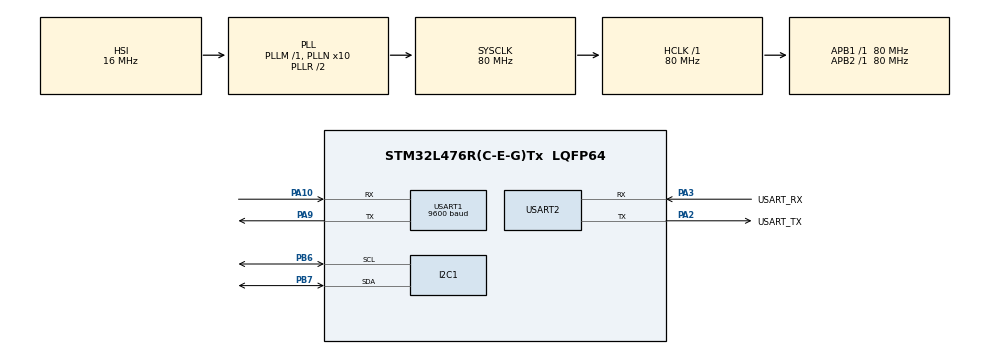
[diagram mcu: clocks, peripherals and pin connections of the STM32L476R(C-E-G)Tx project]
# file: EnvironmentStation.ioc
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I2C1.Timing=0x10D19CE4
Mcu.Family=STM32L4
Mcu.Name=STM32L476R(C-E-G)Tx
Mcu.Package=LQFP64
NVIC.I2C1_EV_IRQn=true\:3\:0\:true\:false\:true\:true\:true\:true
NVIC.PriorityGroup=NVIC_PRIORITYGROUP_4
NVIC.TIM3_IRQn=true\:0\:0\:false\:false\:true\:true\:true\:true
NVIC.USART1_IRQn=true\:0\:0\:false\:false\:true\:true\:true\:true
NVIC.USART2_IRQn=true\:0\:0\:false\:false\:true\:true\:true\:true
PA10.Mode=Asynchronous
PA10.Signal=USART1_RX
PA13\ (JTMS-SWDIO).GPIO_Label=TMS
PA13\ (JTMS-SWDIO).Mode=Serial_Wire
PA13\ (JTMS-SWDIO).Signal=SYS_JTMS-SWDIO
PA14\ (JTCK-SWCLK).GPIO_Label=TCK
PA14\ (JTCK-SWCLK).Mode=Serial_Wire
PA14\ (JTCK-SWCLK).Signal=SYS_JTCK-SWCLK
PA2.GPIO_Label=USART_TX
PA2.GPIO_Mode=GPIO_MODE_AF_PP
PA2.GPIO_PuPd=GPIO_NOPULL
PA2.GPIO_Speed=GPIO_SPEED_FREQ_VERY_HIGH
PA2.Mode=Asynchronous
PA2.Signal=USART2_TX
PA3.GPIO_Label=USART_RX
PA3.GPIO_Mode=GPIO_MODE_AF_PP
PA3.GPIO_PuPd=GPIO_NOPULL
PA3.GPIO_Speed=GPIO_SPEED_FREQ_VERY_HIGH
PA3.Mode=Asynchronous
PA3.Signal=USART2_RX
PA6.Signal=S_TIM3_CH1
PA9.Mode=Asynchronous
PA9.Signal=USART1_TX
PB3\ (JTDO-TRACESWO).GPIO_Label=SWO
PB3\ (JTDO-TRACESWO).Signal=SYS_JTDO-SWO
PB6.Mode=I2C
PB6.Signal=I2C1_SCL
PB7.Mode=I2C
PB7.Signal=I2C1_SDA
PC14-OSC32_IN\ (PC14).Mode=LSE-External-Oscillator
PC14-OSC32_IN\ (PC14).Signal=RCC_OSC32_IN
PC15-OSC32_OUT\ (PC15).Mode=LSE-External-Oscillator
PC15-OSC32_OUT\ (PC15).Signal=RCC_OSC32_OUT
PH0-OSC_IN\ (PH0).Signal=RCC_OSC_IN
PH1-OSC_OUT\ (PH1).Signal=RCC_OSC_OUT
ProjectManager.HeapSize=0x200
ProjectManager.StackSize=0x400
ProjectManager.TargetToolchain=STM32CubeIDE
RCC.ADCFreq_Value=64000000
RCC.AHBFreq_Value=80000000
RCC.APB1Freq_Value=80000000
RCC.APB1TimFreq_Value=80000000
RCC.APB2Freq_Value=80000000
RCC.APB2TimFreq_Value=80000000
RCC.CortexFreq_Value=80000000
RCC.HCLKFreq_Value=80000000
RCC.HSE_VALUE=8000000
RCC.HSI_VALUE=16000000
RCC.MSI_VALUE=4000000
RCC.PLLN=10
RCC.PLLSourceVirtual=RCC_PLLSOURCE_HSI
RCC.PREFETCH_ENABLE=1
RCC.SYSCLKFreq_VALUE=80000000
RCC.SYSCLKSource=RCC_SYSCLKSOURCE_PLLCLK
RCC.USBFreq_Value=64000000
RCC.VCOOutputFreq_Value=160000000
SH.S_TIM3_CH1.0=TIM3_CH1
TIM3.Channel-PWM\ Generation1\ No\ Output=TIM_CHANNEL_1
TIM3.Period=9999
TIM3.Prescaler=79
TIM3.Pulse-PWM\ Generation1\ No\ Output=499
USART1.BaudRate=9600
USART1.VirtualMode-Asynchronous=VM_ASYNC
USART2.VirtualMode-Asynchronous=VM_ASYNC
VP_TIM3_VS_ClockSourceINT.Mode=Internal
VP_TIM3_VS_no_output1.Mode=PWM Generation1 No Output
board=NUCLEO-L476RG

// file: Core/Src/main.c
/* USER CODE BEGIN Header */
/**
  ******************************************************************************
  * @file           : main.c
  * @brief          : Main program body
  ******************************************************************************
  * @attention
  *
  * Copyright (c) 2026 STMicroelectronics.
  * All rights reserved.
  *
  * This software is licensed under terms that can be found in the LICENSE file
  * in the root directory of this software component.
  * If no LICENSE file comes with this software, it is provided AS-IS.
  *
  ******************************************************************************
  */
/* USER CODE END Header */
#include "main.h"

/* USER CODE BEGIN Includes */

#include <stdio.h>

/* USER CODE END Includes */

I2C_HandleTypeDef hi2c1;

TIM_HandleTypeDef htim3;

UART_HandleTypeDef huart1;
UART_HandleTypeDef huart2;

void SystemClock_Config(void);
static void MX_GPIO_Init(void);
static void MX_USART2_UART_Init(void);
static void MX_USART1_UART_Init(void);
static void MX_I2C1_Init(void);
static void MX_TIM3_Init(void);

/* USER CODE BEGIN 0 */

int __io_putchar(int ch)
{
	if (ch == '\n')
		__io_putchar('\r');

	HAL_UART_Transmit(&huart2, (uint8_t*)&ch, 1, HAL_MAX_DELAY);

	return 1;
}

/* USER CODE END 0 */

int main(void)
{

  /* MCU Configuration--------------------------------------------------------*/

  /* Reset of all peripherals, Initializes the Flash interface and the Systick. */
  HAL_Init();

  /* Configure the system clock */
  SystemClock_Config();

  /* Initialize all configured peripherals */
  MX_GPIO_Init();
  MX_USART2_UART_Init();
  MX_USART1_UART_Init();
  MX_I2C1_Init();
  MX_TIM3_Init();

  /* Infinite loop */
  /* USER CODE BEGIN WHILE */

  HAL_TIM_IC_Start(&htim2, TIM_CHANNEL_1);
  HAL_TIM_IC_Start(&htim2, TIM_CHANNEL_2);
  HAL_TIM_PWM_Start(&htim2, TIM_CHANNEL_3);

  HAL_ADCEx_Calibration_Start(&hadc1, ADC_SINGLE_ENDED);
  HAL_ADC_Start(&hadc1);

  HAL_Delay(1000);

  uint32_t start = 0;
  uint32_t stop = 0;
  float temp = 0;
  uint32_t adcValue = 0;
  float airSoundVelocity = 340.f; // m / s
  float distance = 0.f; //cm
  static const unsigned us_in_s = 1000000;
  static const uint16_t ADC_MAX_VALUE = 4096;
  static const float ADC_MAX_VOLTAGE = 3.3f;
  static const uint8_t V_TO_C_CONVERSION = 100; // [C/V]

  while (1)
  {
	  adcValue = HAL_ADC_GetValue(&hadc1);
	  temp = adcValue * V_TO_C_CONVERSION * ADC_MAX_VOLTAGE / ADC_MAX_VALUE;
	  airSoundVelocity = 331.8f + 0.6f * temp;

	  start = HAL_TIM_ReadCapturedValue(&htim2, TIM_CHANNEL_1);
	  stop = HAL_TIM_ReadCapturedValue(&htim2, TIM_CHANNEL_2);
        distance = (stop - start) * (airSoundVelocity / (2 * us_in_s)) * 100;
	  printf("Distance: %.1f [cm]\n", distance);
	  printf("ADC: %lu[-], Temp: %.1f [C], AirSoundVelocity: %.1f [m/s]\n", adcValue, temp, airSoundVelocity);
	  HAL_Delay(500);

	  //forbot - 1/3 of the lesson 14

    /* USER CODE END WHILE */

  }
}

void SystemClock_Config(void)
{
  RCC_OscInitTypeDef RCC_OscInitStruct = {0};
  RCC_ClkInitTypeDef RCC_ClkInitStruct = {0};

  /** Configure the main internal regulator output voltage
  */
  if (HAL_PWREx_ControlVoltageScaling(PWR_REGULATOR_VOLTAGE_SCALE1) != HAL_OK)
  {
    Error_Handler();
  }

  /** Initializes the RCC Oscillators according to the specified parameters
  * in the RCC_OscInitTypeDef structure.
  */
  RCC_OscInitStruct.OscillatorType = RCC_OSCILLATORTYPE_HSI;
  RCC_OscInitStruct.HSIState = RCC_HSI_ON;
  RCC_OscInitStruct.HSICalibrationValue = RCC_HSICALIBRATION_DEFAULT;
  RCC_OscInitStruct.PLL.PLLState = RCC_PLL_ON;
  RCC_OscInitStruct.PLL.PLLSource = RCC_PLLSOURCE_HSI;
  RCC_OscInitStruct.PLL.PLLM = 1;
  RCC_OscInitStruct.PLL.PLLN = 10;
  RCC_OscInitStruct.PLL.PLLP = RCC_PLLP_DIV7;
  RCC_OscInitStruct.PLL.PLLQ = RCC_PLLQ_DIV2;
  RCC_OscInitStruct.PLL.PLLR = RCC_PLLR_DIV2;
  if (HAL_RCC_OscConfig(&RCC_OscInitStruct) != HAL_OK)
  {
    Error_Handler();
  }

  /** Initializes the CPU, AHB and APB buses clocks
  */
  RCC_ClkInitStruct.ClockType = RCC_CLOCKTYPE_HCLK|RCC_CLOCKTYPE_SYSCLK
                              |RCC_CLOCKTYPE_PCLK1|RCC_CLOCKTYPE_PCLK2;
  RCC_ClkInitStruct.SYSCLKSource = RCC_SYSCLKSOURCE_PLLCLK;
  RCC_ClkInitStruct.AHBCLKDivider = RCC_SYSCLK_DIV1;
  RCC_ClkInitStruct.APB1CLKDivider = RCC_HCLK_DIV1;
  RCC_ClkInitStruct.APB2CLKDivider = RCC_HCLK_DIV1;

  if (HAL_RCC_ClockConfig(&RCC_ClkInitStruct, FLASH_LATENCY_4) != HAL_OK)
  {
    Error_Handler();
  }
}

static void MX_I2C1_Init(void)
{

  hi2c1.Instance = I2C1;
  hi2c1.Init.Timing = 0x10D19CE4;
  hi2c1.Init.OwnAddress1 = 0;
  hi2c1.Init.AddressingMode = I2C_ADDRESSINGMODE_7BIT;
  hi2c1.Init.DualAddressMode = I2C_DUALADDRESS_DISABLE;
  hi2c1.Init.OwnAddress2 = 0;
  hi2c1.Init.OwnAddress2Masks = I2C_OA2_NOMASK;
  hi2c1.Init.GeneralCallMode = I2C_GENERALCALL_DISABLE;
  hi2c1.Init.NoStretchMode = I2C_NOSTRETCH_DISABLE;
  if (HAL_I2C_Init(&hi2c1) != HAL_OK)
  {
    Error_Handler();
  }

  /** Configure Analogue filter
  */
  if (HAL_I2CEx_ConfigAnalogFilter(&hi2c1, I2C_ANALOGFILTER_ENABLE) != HAL_OK)
  {
    Error_Handler();
  }

  /** Configure Digital filter
  */
  if (HAL_I2CEx_ConfigDigitalFilter(&hi2c1, 0) != HAL_OK)
  {
    Error_Handler();
  }

}

static void MX_TIM3_Init(void)
{

  TIM_ClockConfigTypeDef sClockSourceConfig = {0};
  TIM_MasterConfigTypeDef sMasterConfig = {0};
  TIM_OC_InitTypeDef sConfigOC = {0};

  htim3.Instance = TIM3;
  htim3.Init.Prescaler = 79;
  htim3.Init.CounterMode = TIM_COUNTERMODE_UP;
  htim3.Init.Period = 9999;
  htim3.Init.ClockDivision = TIM_CLOCKDIVISION_DIV1;
  htim3.Init.AutoReloadPreload = TIM_AUTORELOAD_PRELOAD_DISABLE;
  if (HAL_TIM_Base_Init(&htim3) != HAL_OK)
  {
    Error_Handler();
  }
  sClockSourceConfig.ClockSource = TIM_CLOCKSOURCE_INTERNAL;
  if (HAL_TIM_ConfigClockSource(&htim3, &sClockSourceConfig) != HAL_OK)
  {
    Error_Handler();
  }
  if (HAL_TIM_PWM_Init(&htim3) != HAL_OK)
  {
    Error_Handler();
  }
  sMasterConfig.MasterOutputTrigger = TIM_TRGO_RESET;
  sMasterConfig.MasterSlaveMode = TIM_MASTERSLAVEMODE_DISABLE;
  if (HAL_TIMEx_MasterConfigSynchronization(&htim3, &sMasterConfig) != HAL_OK)
  {
    Error_Handler();
  }
  sConfigOC.OCMode = TIM_OCMODE_PWM1;
  sConfigOC.Pulse = 499;
  sConfigOC.OCPolarity = TIM_OCPOLARITY_HIGH;
  sConfigOC.OCFastMode = TIM_OCFAST_DISABLE;
  if (HAL_TIM_PWM_ConfigChannel(&htim3, &sConfigOC, TIM_CHANNEL_1) != HAL_OK)
  {
    Error_Handler();
  }

}

static void MX_USART1_UART_Init(void)
{

  huart1.Instance = USART1;
  huart1.Init.BaudRate = 9600;
  huart1.Init.WordLength = UART_WORDLENGTH_8B;
  huart1.Init.StopBits = UART_STOPBITS_1;
  huart1.Init.Parity = UART_PARITY_NONE;
  huart1.Init.Mode = UART_MODE_TX_RX;
  huart1.Init.HwFlowCtl = UART_HWCONTROL_NONE;
  huart1.Init.OverSampling = UART_OVERSAMPLING_16;
  huart1.Init.OneBitSampling = UART_ONE_BIT_SAMPLE_DISABLE;
  huart1.AdvancedInit.AdvFeatureInit = UART_ADVFEATURE_NO_INIT;
  if (HAL_UART_Init(&huart1) != HAL_OK)
  {
    Error_Handler();
  }

}

static void MX_USART2_UART_Init(void)
{

  huart2.Instance = USART2;
  huart2.Init.BaudRate = 115200;
  huart2.Init.WordLength = UART_WORDLENGTH_8B;
  huart2.Init.StopBits = UART_STOPBITS_1;
  huart2.Init.Parity = UART_PARITY_NONE;
  huart2.Init.Mode = UART_MODE_TX_RX;
  huart2.Init.HwFlowCtl = UART_HWCONTROL_NONE;
  huart2.Init.OverSampling = UART_OVERSAMPLING_16;
  huart2.Init.OneBitSampling = UART_ONE_BIT_SAMPLE_DISABLE;
  huart2.AdvancedInit.AdvFeatureInit = UART_ADVFEATURE_NO_INIT;
  if (HAL_UART_Init(&huart2) != HAL_OK)
  {
    Error_Handler();
  }

}

static void MX_GPIO_Init(void)
{

  /* GPIO Ports Clock Enable */
  __HAL_RCC_GPIOC_CLK_ENABLE();
  __HAL_RCC_GPIOH_CLK_ENABLE();
  __HAL_RCC_GPIOA_CLK_ENABLE();
  __HAL_RCC_GPIOB_CLK_ENABLE();

}

void Error_Handler(void)
{
  __disable_irq();
  while (1)
  {
  }
}
